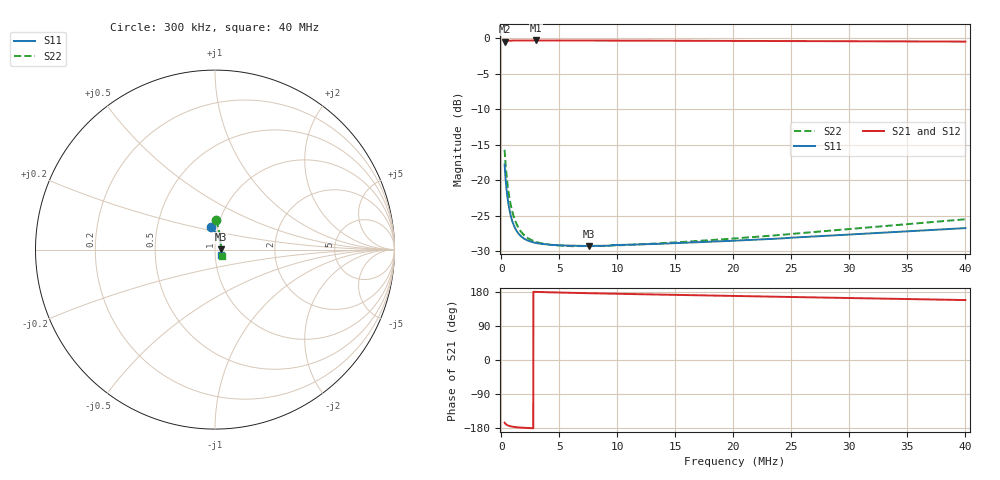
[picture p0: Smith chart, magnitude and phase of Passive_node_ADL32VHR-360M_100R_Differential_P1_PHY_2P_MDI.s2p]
! TOUCHSTONE file generated by CST DESIGN STUDIO
! Date and time: Tue May 12 11:37:19 2026
! Project name: C:\sim_local\10base-t1m\passive_node_simulations_adl32.cst
! Tree item: Tasks\SPara1\S-Parameters
! Header version: 2024
! Port assignment regex: !\s*Touchstone port\s*([0-9]+)\s*=\s*(CST MWS port|CST DES external port|CST DES block port)\s*(.+)\s* \(\"(.*)\"\)(\s*mode\s*([0-9]+))?.*
! Touchstone port assignment:
! Touchstone port 1 = CST DES external port 1 ("PHY")
! Touchstone port 2 = CST DES external port 2 ("MDI")
# MHz S MA R 100
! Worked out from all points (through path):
!   1001 points, 300 kHz to 40 MHz, reference 100 ohm
!   highest |S21| = -0.31 dB at 2.977 MHz (marker M1); lowest = -0.5 dB at 300 kHz (marker M2)
!   lowest |S11| = -29.2 dB at 7.541 MHz (marker M3), VSWR 1.07, Z = 107 + j0.129 ohm
!   |S11| at or under -10 dB: start of sweep to end of sweep
!   |S22| runs from -29.3 to -15.7 dB; largest |S21 - S12| = 0.00039
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0.3  0.1295 101.1  0.9468 -165.3  0.9469 -165.3  0.164 88.0
0.3757236  0.105 92.2  0.9533 -168.3  0.9533 -168.3  0.1322 83.2
0.4502888  0.08939 85.2  0.9568 -170.4  0.9568 -170.4  0.1119 79.1
0.5317887  0.07778 78.8  0.9591 -171.9  0.9591 -171.9  0.09635 75.1
0.6280396  0.0683 72.5  0.9608 -173.3  0.9607 -173.3  0.08357 70.9
0.7344886  0.06107 66.5  0.962 -174.4  0.9619 -174.4  0.07356 66.7
0.8547875  0.05527 60.7  0.9628 -175.3  0.9627 -175.3  0.06552 62.3
0.9755095  0.05117 55.7  0.9634 -176.0  0.9632 -176.0  0.05962 58.4
1.140853  0.04721 49.9  0.9639 -176.8  0.9637 -176.8  0.05381 53.5
1.457057  0.04262 41.2  0.9645 -177.8  0.9644 -177.8  0.04691 45.6
1.879201  0.03938 32.8  0.9648 -178.7  0.9647 -178.7  0.04192 37.5
2.376678  0.03752 25.8  0.9649 -179.5  0.9649 -179.5  0.03888 30.3
2.97658  0.03633 19.8  0.965 179.8  0.9649 179.8  0.03699 23.7
3.709708  0.03551 14.6  0.9649 179.1  0.9647 179.1  0.0357 17.9
4.623406  0.03506 9.9  0.9647 178.3  0.9646 178.3  0.03494 12.4
6.93956  0.03458 2.5  0.9641 176.6  0.9638 176.6  0.03448 3.6
7.541468  0.03453 1.0  0.9638 176.3  0.9636 176.3  0.03444 1.9
13.5659  0.03575 -11.0  0.9613 172.7  0.9609 172.7  0.03602 -11.7
20.16362  0.03766 -20.2  0.9581 168.9  0.9578 169.0  0.03905 -21.9
26.78027  0.0402 -28.5  0.9547 165.3  0.9544 165.3  0.04318 -30.5
33.53993  0.04314 -36.6  0.9509 161.6  0.9507 161.6  0.04804 -38.6
40  0.04613 -43.9  0.9473 158.1  0.947 158.1  0.05324 -45.5
